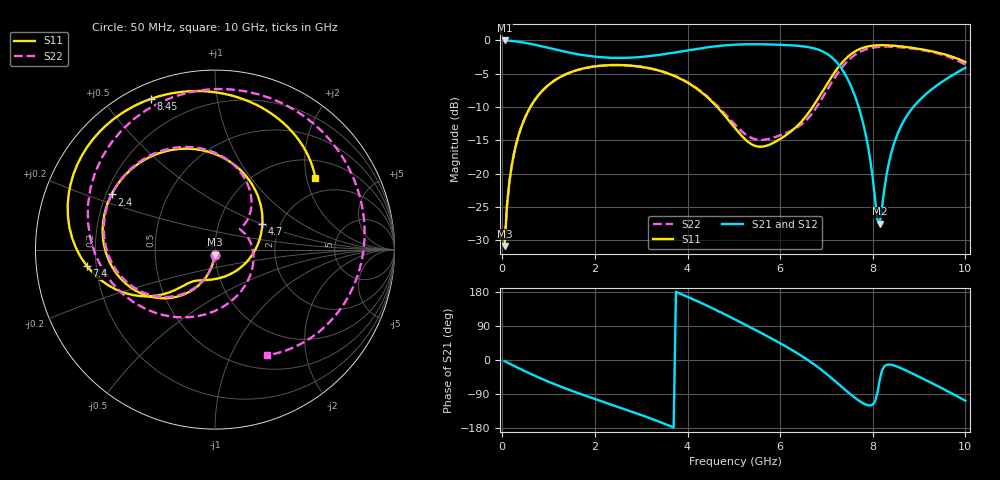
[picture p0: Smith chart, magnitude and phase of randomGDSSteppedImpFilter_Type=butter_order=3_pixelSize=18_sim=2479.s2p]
! freq	dB(S11)	phase(S11)	dB(S12)	phase(S12)
!  dB(S21)	phase(S21)	dB(S22)	phase(S22)
!S-par simulation data
#  GHz  S  DB  R 50
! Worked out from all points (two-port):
!   200 points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, 50 MHz to 10 GHz, reference 50 ohm
!   highest |S21| = -0.01 dB at 50 MHz (marker M1); lowest = -27.5 dB at 8.15 GHz (marker M2)
!   |S21| within 3 dB of the highest: start of sweep to 7.185 GHz
!   lowest |S11| = -30.8 dB at 50 MHz (marker M3), VSWR 1.06, Z = 49.8 - j2.85 ohm
!   |S11| at or under -10 dB: start of sweep to 606 MHz; 4.641 GHz to 6.7 GHz (2.059 GHz wide, 36.3 % of centre)
!   |S22| runs from -30.9 to -0.9 dB; largest |S21 - S12| = 0
!   S11 on the Smith chart (normalised r, x): 50 MHz: 1.00, -0.06; 2.4 GHz: 0.22, +0.24; 4.7 GHz: 1.62, +0.51; 7.4 GHz: 0.16, -0.06; 8.45 GHz: 0.07, +0.66; 10 GHz: 1.49, +2.26
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0.05  -30.85 -93.2  -0.01 -3.1  -0.01 -3.1  -30.87 -93.3
0.2  -18.93 -102.7  -0.08 -12.3  -0.08 -12.3  -18.92 -103.1
0.5  -11.45 -120.3  -0.37 -30.2  -0.37 -30.2  -11.44 -121.3
1.05  -6.39 -149.4  -1.21 -59.9  -1.21 -59.9  -6.39 -151.4
1.75  -4.21 178.8  -2.21 -92.3  -2.21 -92.3  -4.21 175.6
2.4  -3.70 151.9  -2.62 -119.6  -2.62 -119.6  -3.69 147.9
3.4  -4.56 108.3  -2.16 -163.3  -2.16 -163.3  -4.54 105.2
4.1  -6.76 70.7  -1.38 161.3  -1.38 161.3  -6.69 73.4
4.7  -10.45 28.5  -0.81 126.9  -0.81 126.9  -10.21 49.2
5.05  -13.36 -5.0  -0.63 105.5  -0.63 105.5  -12.82 41.4
5.85  -15.38 -99.6  -0.62 54.3  -0.62 54.3  -14.59 30.6
6.3  -13.26 -125.1  -0.76 23.0  -0.76 23.0  -13.34 -7.1
6.7  -10.00 -134.7  -1.14 -8.7  -1.14 -8.7  -10.86 -65.2
7.1  -5.58 -151.3  -2.46 -46.7  -2.46 -46.7  -6.45 -131.0
7.4  -2.86 -172.6  -5.05 -78.3  -5.05 -78.3  -3.52 -177.5
7.7  -1.35 163.4  -10.11 -107.3  -10.11 -107.3  -1.80 140.6
8.15  -0.72 131.1  -27.49 -52.6  -27.49 -52.6  -0.96 89.1
8.35  -0.75 118.7  -18.30 -12.0  -18.30 -12.0  -0.93 69.9
8.45  -0.79 112.9  -15.66 -14.2  -15.66 -14.2  -0.96 60.9
8.8  -1.06 94.0  -10.67 -32.4  -10.67 -32.4  -1.18 31.6
9.2  -1.52 74.0  -7.74 -56.3  -7.74 -56.3  -1.64 0.4
10  -3.25 35.6  -4.10 -107.7  -4.10 -107.7  -3.65 -63.6
